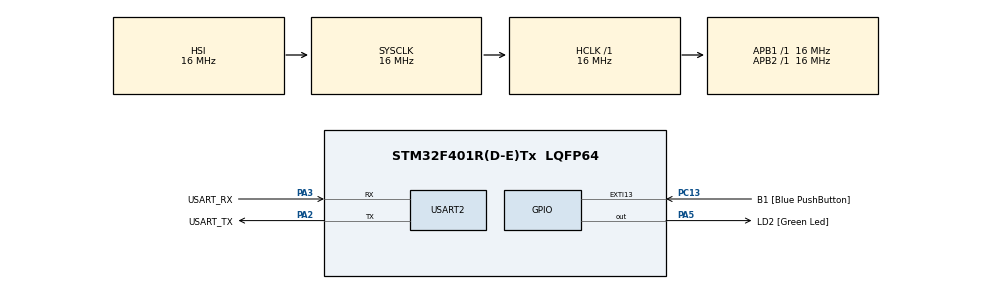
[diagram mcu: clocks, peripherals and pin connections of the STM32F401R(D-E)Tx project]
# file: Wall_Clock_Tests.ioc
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Mcu.Family=STM32F4
Mcu.Name=STM32F401R(D-E)Tx
Mcu.Package=LQFP64
NVIC.PriorityGroup=NVIC_PRIORITYGROUP_4
NVIC.TIM5_IRQn=true\:0\:0\:false\:false\:true\:true\:true\:true
PA13.GPIO_Label=TMS
PA13.Mode=Trace_Asynchronous_SW
PA13.Signal=SYS_JTMS-SWDIO
PA14.GPIO_Label=TCK
PA14.Mode=Trace_Asynchronous_SW
PA14.Signal=SYS_JTCK-SWCLK
PA2.GPIO_Label=USART_TX
PA2.GPIO_Mode=GPIO_MODE_AF_PP
PA2.GPIO_PuPd=GPIO_NOPULL
PA2.GPIO_Speed=GPIO_SPEED_FREQ_LOW
PA2.Mode=Asynchronous
PA2.Signal=USART2_TX
PA3.GPIO_Label=USART_RX
PA3.GPIO_Mode=GPIO_MODE_AF_PP
PA3.GPIO_PuPd=GPIO_NOPULL
PA3.GPIO_Speed=GPIO_SPEED_FREQ_LOW
PA3.Mode=Asynchronous
PA3.Signal=USART2_RX
PA5.GPIO_Label=LD2 [Green Led]
PA5.GPIO_Mode=GPIO_MODE_OUTPUT_PP
PA5.GPIO_PuPd=GPIO_NOPULL
PA5.GPIO_Speed=GPIO_SPEED_FREQ_LOW
PA5.Signal=GPIO_Output
PB3.GPIO_Label=SWO
PB3.Mode=Trace_Asynchronous_SW
PB3.Signal=SYS_JTDO-SWO
PC13-ANTI_TAMP.GPIO_Label=B1 [Blue PushButton]
PC13-ANTI_TAMP.GPIO_ModeDefaultEXTI=GPIO_MODE_IT_FALLING
PC13-ANTI_TAMP.GPIO_PuPd=GPIO_NOPULL
PC13-ANTI_TAMP.Signal=GPXTI13
PC14-OSC32_IN.Mode=LSE-External-Oscillator
PC14-OSC32_IN.Signal=RCC_OSC32_IN
PC15-OSC32_OUT.Mode=LSE-External-Oscillator
PC15-OSC32_OUT.Signal=RCC_OSC32_OUT
PH0\ -\ OSC_IN.Mode=HSE-External-Clock-Source
PH0\ -\ OSC_IN.Signal=RCC_OSC_IN
PH1\ -\ OSC_OUT.Mode=HSE-External-Clock-Source
PH1\ -\ OSC_OUT.Signal=RCC_OSC_OUT
ProjectManager.HeapSize=0x200
ProjectManager.StackSize=0x400
ProjectManager.TargetToolchain=STM32CubeIDE
RCC.48MHZClocksFreq_Value=48000000
RCC.AHBFreq_Value=16000000
RCC.APB1Freq_Value=16000000
RCC.APB1TimFreq_Value=16000000
RCC.APB2Freq_Value=16000000
RCC.APB2TimFreq_Value=16000000
RCC.CortexFreq_Value=16000000
RCC.HCLKFreq_Value=16000000
RCC.HSE_VALUE=8000000
RCC.HSI_VALUE=16000000
RCC.PLLN=336
RCC.PLLP=RCC_PLLP_DIV4
RCC.PLLQ=7
RCC.SYSCLKFreq_VALUE=16000000
RCC.VCOOutputFreq_Value=336000000
TIM5.AutoReloadPreload=TIM_AUTORELOAD_PRELOAD_ENABLE
TIM5.Period=1000-1
TIM5.Prescaler=53-1
USART2.VirtualMode=VM_ASYNC
VP_TIM5_VS_ClockSourceINT.Mode=Internal
board=NUCLEO-F401RE

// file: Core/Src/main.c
/* USER CODE BEGIN Header */
/**
  ******************************************************************************
  * @file           : main.c
  * @brief          : Main program body
  ******************************************************************************
  * @attention
  *
  * Copyright (c) 2026 STMicroelectronics.
  * All rights reserved.
  *
  * This software is licensed under terms that can be found in the LICENSE file
  * in the root directory of this software component.
  * If no LICENSE file comes with this software, it is provided AS-IS.
  *
  ******************************************************************************
  */
/* USER CODE END Header */
#include "main.h"

/* USER CODE BEGIN Includes */
#include <stdio.h>
#include <string.h>
/* USER CODE END Includes */

TIM_HandleTypeDef htim5;

UART_HandleTypeDef huart2;

/* USER CODE BEGIN PV */
volatile uint8_t clock_hours = 0;
volatile uint8_t clock_mins = 0;
volatile uint8_t clock_secs = 0;

volatile uint8_t wall_clock_update_flag = 0;

uint8_t txd_msg_buffer[64] = {0};
/* USER CODE END PV */

void SystemClock_Config(void);
static void MX_GPIO_Init(void);
static void MX_USART2_UART_Init(void);
static void MX_TIM5_Init(void);

int main(void)
{

  /* MCU Configuration--------------------------------------------------------*/

  /* Reset of all peripherals, Initializes the Flash interface and the Systick. */
  HAL_Init();

  /* Configure the system clock */
  SystemClock_Config();

  /* Initialize all configured peripherals */
  MX_GPIO_Init();
  MX_USART2_UART_Init();
  MX_TIM5_Init();
  /* USER CODE BEGIN 2 */
  // Start TIMER 5 for one-second interrupts
  HAL_TIM_Base_Start_IT(&htim5);

  clock_hours = 0;
  clock_mins = 0;
  clock_secs = 0;
  wall_clock_update_flag = 0;
  /* USER CODE END 2 */

  /* Infinite loop */
  /* USER CODE BEGIN WHILE */
  while (1)
  {
	  if (wall_clock_update_flag == 1)
	  {
		  wall_clock_update_flag = 0;

		  sprintf((char*)txd_msg_buffer,
		          "SCALED CLOCK TIME\r\n"
		          "HOURS  MINS\r\n"
		          "%02d  :  %02d\r\n",
		          clock_hours, clock_mins);

		  HAL_UART_Transmit(&huart2,
				  	  	  	 txd_msg_buffer,
							 strlen((char*)txd_msg_buffer),
							 100);

		  HAL_GPIO_TogglePin(LD2_GPIO_Port, LD2_Pin);
	  }

    /* USER CODE END WHILE */

  }
}

void SystemClock_Config(void)
{
  RCC_OscInitTypeDef RCC_OscInitStruct = {0};
  RCC_ClkInitTypeDef RCC_ClkInitStruct = {0};

  /** Configure the main internal regulator output voltage
  */
  __HAL_RCC_PWR_CLK_ENABLE();
  __HAL_PWR_VOLTAGESCALING_CONFIG(PWR_REGULATOR_VOLTAGE_SCALE2);

  /** Initializes the RCC Oscillators according to the specified parameters
  * in the RCC_OscInitTypeDef structure.
  */
  RCC_OscInitStruct.OscillatorType = RCC_OSCILLATORTYPE_HSI;
  RCC_OscInitStruct.HSIState = RCC_HSI_ON;
  RCC_OscInitStruct.HSICalibrationValue = RCC_HSICALIBRATION_DEFAULT;
  RCC_OscInitStruct.PLL.PLLState = RCC_PLL_NONE;
  if (HAL_RCC_OscConfig(&RCC_OscInitStruct) != HAL_OK)
  {
    Error_Handler();
  }

  /** Initializes the CPU, AHB and APB buses clocks
  */
  RCC_ClkInitStruct.ClockType = RCC_CLOCKTYPE_HCLK|RCC_CLOCKTYPE_SYSCLK
                              |RCC_CLOCKTYPE_PCLK1|RCC_CLOCKTYPE_PCLK2;
  RCC_ClkInitStruct.SYSCLKSource = RCC_SYSCLKSOURCE_HSI;
  RCC_ClkInitStruct.AHBCLKDivider = RCC_SYSCLK_DIV1;
  RCC_ClkInitStruct.APB1CLKDivider = RCC_HCLK_DIV1;
  RCC_ClkInitStruct.APB2CLKDivider = RCC_HCLK_DIV1;

  if (HAL_RCC_ClockConfig(&RCC_ClkInitStruct, FLASH_LATENCY_0) != HAL_OK)
  {
    Error_Handler();
  }
}

static void MX_TIM5_Init(void)
{

  TIM_ClockConfigTypeDef sClockSourceConfig = {0};
  TIM_MasterConfigTypeDef sMasterConfig = {0};

  htim5.Instance = TIM5;
  htim5.Init.Prescaler = 53-1;
  htim5.Init.CounterMode = TIM_COUNTERMODE_UP;
  htim5.Init.Period = 1000-1;
  htim5.Init.ClockDivision = TIM_CLOCKDIVISION_DIV1;
  htim5.Init.AutoReloadPreload = TIM_AUTORELOAD_PRELOAD_ENABLE;
  if (HAL_TIM_Base_Init(&htim5) != HAL_OK)
  {
    Error_Handler();
  }
  sClockSourceConfig.ClockSource = TIM_CLOCKSOURCE_INTERNAL;
  if (HAL_TIM_ConfigClockSource(&htim5, &sClockSourceConfig) != HAL_OK)
  {
    Error_Handler();
  }
  sMasterConfig.MasterOutputTrigger = TIM_TRGO_RESET;
  sMasterConfig.MasterSlaveMode = TIM_MASTERSLAVEMODE_DISABLE;
  if (HAL_TIMEx_MasterConfigSynchronization(&htim5, &sMasterConfig) != HAL_OK)
  {
    Error_Handler();
  }

}

static void MX_USART2_UART_Init(void)
{

  huart2.Instance = USART2;
  huart2.Init.BaudRate = 115200;
  huart2.Init.WordLength = UART_WORDLENGTH_8B;
  huart2.Init.StopBits = UART_STOPBITS_1;
  huart2.Init.Parity = UART_PARITY_NONE;
  huart2.Init.Mode = UART_MODE_TX_RX;
  huart2.Init.HwFlowCtl = UART_HWCONTROL_NONE;
  huart2.Init.OverSampling = UART_OVERSAMPLING_16;
  if (HAL_UART_Init(&huart2) != HAL_OK)
  {
    Error_Handler();
  }

}

static void MX_GPIO_Init(void)
{
  GPIO_InitTypeDef GPIO_InitStruct = {0};

  /* GPIO Ports Clock Enable */
  __HAL_RCC_GPIOC_CLK_ENABLE();
  __HAL_RCC_GPIOH_CLK_ENABLE();
  __HAL_RCC_GPIOA_CLK_ENABLE();
  __HAL_RCC_GPIOB_CLK_ENABLE();

  /*Configure GPIO pin Output Level */
  HAL_GPIO_WritePin(LD2_GPIO_Port, LD2_Pin, GPIO_PIN_RESET);

  /*Configure GPIO pin : B1_Pin */
  GPIO_InitStruct.Pin = B1_Pin;
  GPIO_InitStruct.Mode = GPIO_MODE_IT_FALLING;
  GPIO_InitStruct.Pull = GPIO_NOPULL;
  HAL_GPIO_Init(B1_GPIO_Port, &GPIO_InitStruct);

  /*Configure GPIO pin : LD2_Pin */
  GPIO_InitStruct.Pin = LD2_Pin;
  GPIO_InitStruct.Mode = GPIO_MODE_OUTPUT_PP;
  GPIO_InitStruct.Pull = GPIO_NOPULL;
  GPIO_InitStruct.Speed = GPIO_SPEED_FREQ_LOW;
  HAL_GPIO_Init(LD2_GPIO_Port, &GPIO_InitStruct);

}

/* USER CODE BEGIN 4 */

void HAL_TIM_PeriodElapsedCallback(TIM_HandleTypeDef *htim)
{
	if (htim->Instance == TIM5)
	{
		clock_mins += 1;

		if (clock_mins >= 60)
		{
			clock_mins = 0;
			clock_hours += 1;
		}

		if (clock_hours >= 24)
		{
			clock_hours = 0;
		}

		wall_clock_update_flag = 1;
	}
}

/* USER CODE END 4 */

void Error_Handler(void)
{
  __disable_irq();
  while (1)
  {
  }
}
